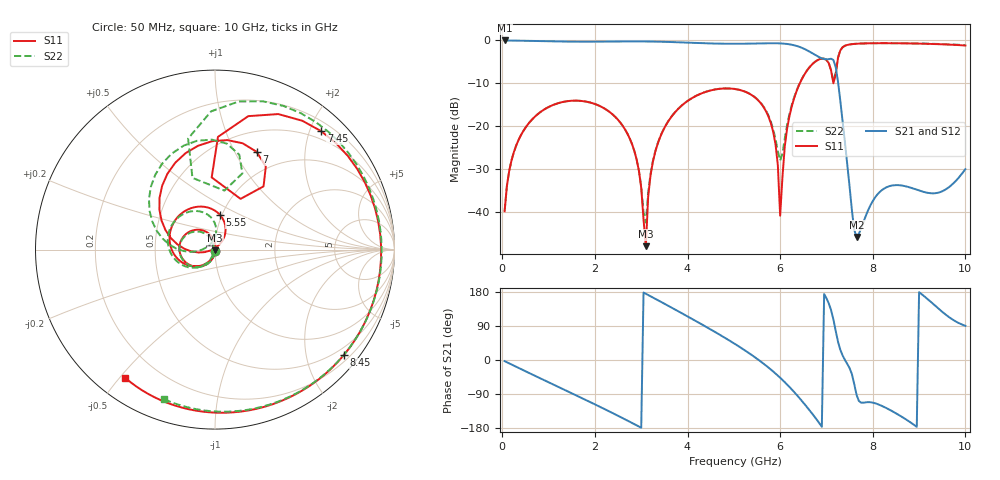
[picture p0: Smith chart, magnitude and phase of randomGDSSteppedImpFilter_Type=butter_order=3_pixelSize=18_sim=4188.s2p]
! freq	dB(S11)	phase(S11)	dB(S12)	phase(S12)
!  dB(S21)	phase(S21)	dB(S22)	phase(S22)
!S-par simulation data
#  GHz  S  DB  R 50
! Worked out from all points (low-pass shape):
!   200 points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, 50 MHz to 10 GHz, reference 50 ohm
!   highest |S21| = -0.01 dB at 50 MHz (marker M1); lowest = -45.8 dB at 7.65 GHz (marker M2)
!   |S21| within 3 dB of the highest: start of sweep to 6.698 GHz
!   lowest |S11| = -48.0 dB at 3.1 GHz (marker M3), VSWR 1.01, Z = 50.2 - j0.371 ohm
!   |S11| at or under -10 dB: start of sweep to 6.425 GHz
!   |S22| runs from -42.4 to -0.6 dB; largest |S21 - S12| = 0
!   S11 on the Smith chart (normalised r, x): 50 MHz: 1.00, -0.02; 5.55 GHz: 0.98, +0.39; 7 GHz: 0.73, +1.23; 7.45 GHz: 0.36, +2.19; 8.45 GHz: 0.33, -2.76; 10 GHz: 0.09, -0.52
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0.05  -39.80 -91.2  -0.01 -3.0  -0.01 -3.0  -39.80 -91.1
0.5  -20.35 -120.4  -0.08 -29.7  -0.08 -29.7  -20.35 -119.6
1.75  -14.16 165.4  -0.30 -102.4  -0.30 -102.4  -14.16 168.9
2.75  -22.81 102.9  -0.23 -162.8  -0.23 -162.8  -22.82 113.1
3.1  -47.95 -67.7  -0.24 174.8  -0.24 174.8  -42.45 -153.3
3.2  -31.52 -100.4  -0.25 168.3  -0.25 168.3  -31.17 -114.1
3.4  -22.77 -116.7  -0.30 155.2  -0.30 155.2  -22.69 -117.8
4.25  -12.58 -176.3  -0.61 98.0  -0.61 98.0  -12.56 -169.2
5.05  -11.37 124.1  -0.78 40.3  -0.78 40.3  -11.35 137.0
5.55  -14.24 81.4  -0.70 -1.2  -0.70 -1.2  -14.18 100.8
5.9  -24.22 49.8  -0.66 -35.7  -0.66 -35.7  -23.00 90.1
6  -40.85 83.6  -0.69 -46.8  -0.69 -46.8  -27.99 130.2
6.2  -17.67 -175.4  -0.90 -71.0  -0.90 -71.0  -17.18 -174.8
6.7  -5.48 114.6  -3.02 -142.8  -3.02 -142.8  -5.46 128.6
7  -4.55 67.0  -4.41 162.9  -4.41 162.9  -4.53 83.6
7.15  -9.99 63.2  -4.57 107.0  -4.57 107.0  -9.55 80.9
7.25  -4.04 88.5  -9.67 48.0  -9.67 48.0  -3.92 103.6
7.45  -1.05 48.1  -28.88 -10.4  -28.88 -10.4  -1.04 64.4
7.65  -0.77 24.2  -45.83 -92.1  -45.83 -92.1  -0.77 40.8
8.35  -0.65 -32.7  -34.00 -130.4  -34.00 -130.4  -0.63 -16.6
8.45  -0.65 -39.4  -33.76 -137.1  -33.76 -137.1  -0.64 -23.3
10  -1.19 -125.1  -30.01 90.0  -30.01 90.0  -1.11 -108.9
